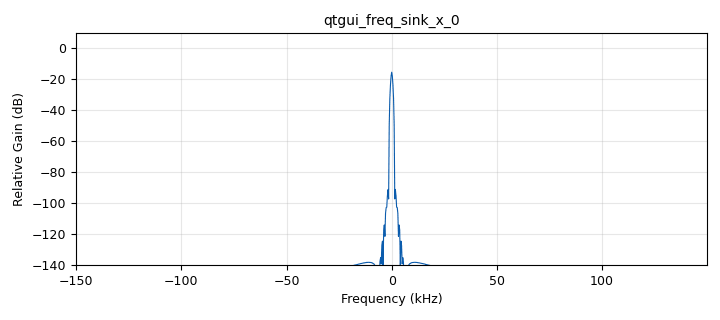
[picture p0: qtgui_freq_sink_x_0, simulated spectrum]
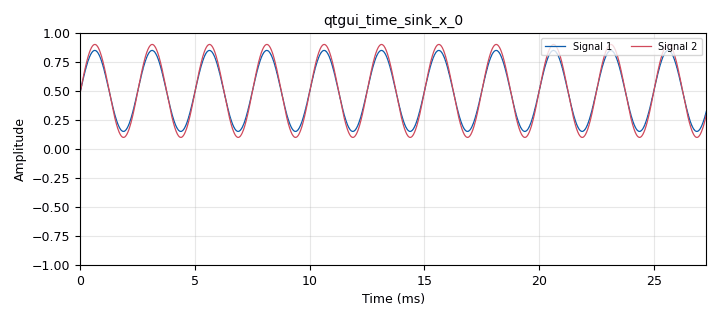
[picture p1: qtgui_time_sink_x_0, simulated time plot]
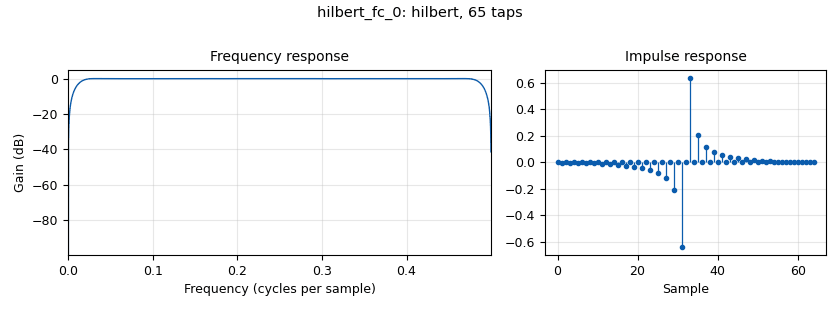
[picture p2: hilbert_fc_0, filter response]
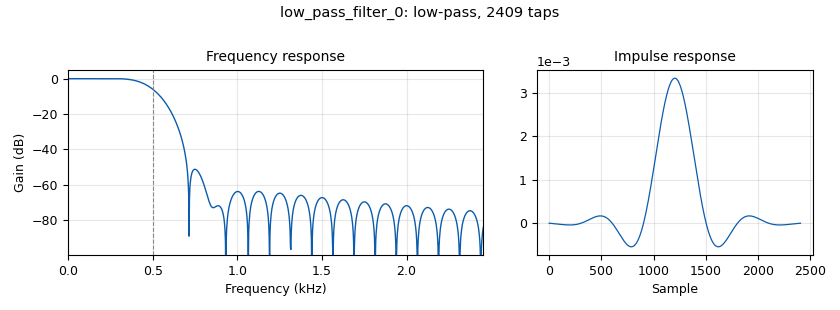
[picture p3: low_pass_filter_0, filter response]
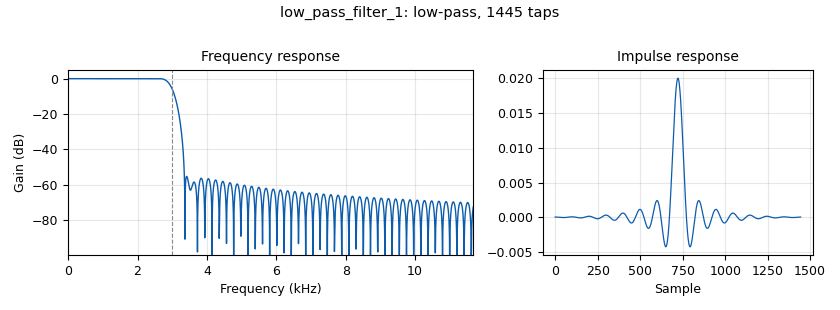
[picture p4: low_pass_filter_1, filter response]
options:
  parameters:
    generate_options: qt_gui
    id: Landell_sigma_delta
    output_language: python
    title: Not titled yet
  states: {}

blocks:
- name: samp_rate
  id: variable
  parameters:
    value: '300000'
  states: {}
- name: analog_noise_source_x_0
  id: analog_noise_source_x
  parameters:
    amp: '1'
    noise_type: analog.GR_GAUSSIAN
    seed: '0'
    type: float
  states: {state: disabled}
- name: analog_sig_source_x_0
  id: analog_sig_source_x
  parameters:
    amp: '0.4'
    freq: '400'
    offset: '0.5'
    phase: '0'
    samp_rate: samp_rate
    type: float
    waveform: analog.GR_SIN_WAVE
  states: {}
- name: blocks_complex_to_mag_0
  id: blocks_complex_to_mag
  parameters: {}
  states: {}
- name: blocks_delay_0
  id: blocks_delay
  parameters:
    delay: '1205'
    type: float
  states: {}
- name: blocks_file_sink_0
  id: blocks_file_sink
  parameters:
    file: /home/fabio/Compartilhada/erro.dat
    type: float
  states: {}
- name: blocks_multiply_const_vxx_0
  id: blocks_multiply_const_vxx
  parameters:
    const: '1'
    type: float
  states: {}
- name: blocks_sub_xx_0
  id: blocks_sub_xx
  parameters:
    type: float
  states: {}
- name: blocks_throttle2_0
  id: blocks_throttle2
  parameters:
    samples_per_second: samp_rate
    type: float
  states: {}
- name: hilbert_fc_0
  id: hilbert_fc
  parameters:
    num_taps: '65'
  states: {}
- name: low_pass_filter_0
  id: low_pass_filter
  parameters:
    cutoff_freq: '500'
    decim: '1'
    gain: '1'
    samp_rate: samp_rate
    type: fir_filter_fff
    width: '300'
    win: window.WIN_HAMMING
  states: {}
- name: low_pass_filter_1
  id: low_pass_filter
  parameters:
    cutoff_freq: '3000'
    decim: '1'
    gain: '1'
    samp_rate: samp_rate
    type: fir_filter_fff
    width: '500'
    win: window.WIN_HAMMING
  states: {}
- name: qtgui_freq_sink_x_0
  id: qtgui_freq_sink_x
  parameters:
    bw: samp_rate
    fc: '0'
    fftsize: '1024'
    type: float
  states: {}
- name: qtgui_time_sink_x_0
  id: qtgui_time_sink_x
  parameters:
    nconnections: '2'
    size: '8192'
    srate: samp_rate
    type: float
  states: {}

connections:
- [analog_sig_source_x_0, '0', blocks_delay_0, '0']
- [analog_sig_source_x_0, '0', blocks_multiply_const_vxx_0, '0']
- [analog_sig_source_x_0, '0', low_pass_filter_1, '0']
- [blocks_complex_to_mag_0, '0', qtgui_freq_sink_x_0, '0']
- [blocks_delay_0, '0', blocks_sub_xx_0, '0']
- [blocks_delay_0, '0', qtgui_time_sink_x_0, '1']
- [blocks_multiply_const_vxx_0, '0', blocks_throttle2_0, '0']
- [blocks_sub_xx_0, '0', blocks_file_sink_0, '0']
- [blocks_throttle2_0, '0', low_pass_filter_0, '0']
- [hilbert_fc_0, '0', blocks_complex_to_mag_0, '0']
- [low_pass_filter_0, '0', blocks_sub_xx_0, '1']
- [low_pass_filter_0, '0', qtgui_time_sink_x_0, '0']
- [low_pass_filter_1, '0', hilbert_fc_0, '0']

metadata:
  file_format: 1
  grc_version: 3.10.9.2
